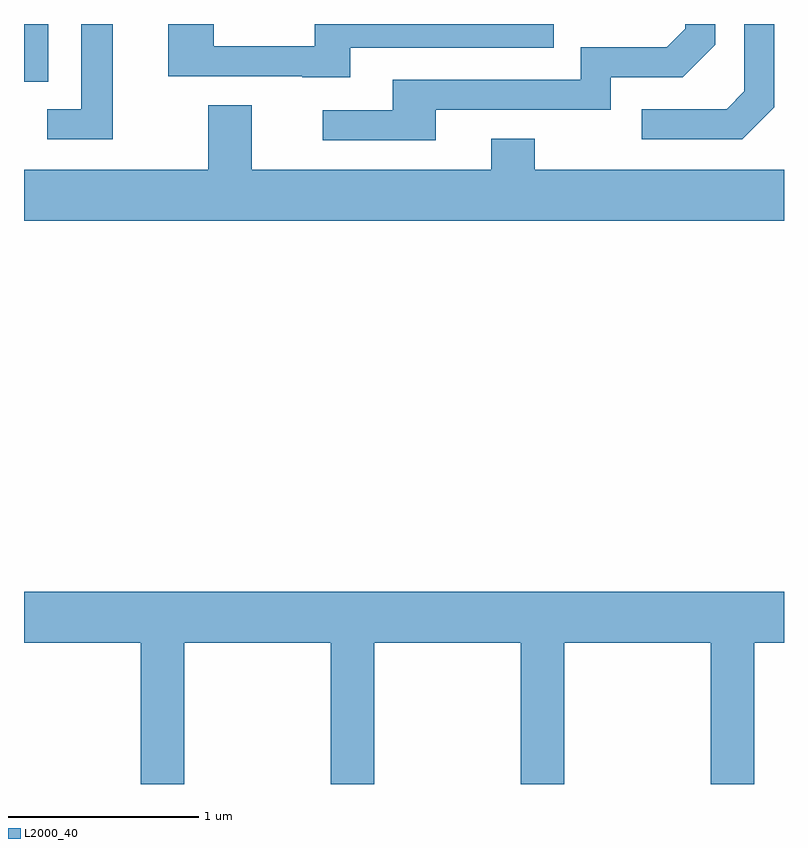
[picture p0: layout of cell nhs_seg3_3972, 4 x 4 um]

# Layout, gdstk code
import gdstk
lib = gdstk.Library(unit=1e-6, precision=1e-09)
def R(c, l, rs):  # rectangles x0, y0, x1, y1
    for r in rs: c.add(gdstk.rectangle(r[:2], r[2:], *l))
def P(c, l, *ps):  # polygons
    for p in ps: c.add(gdstk.Polygon(p, *l))
L2000_40 = (2000, 40)

nhs_seg3_3972 = lib.new_cell('nhs_seg3_3972')
R(nhs_seg3_3972, L2000_40, [(301.611,1175.588,301.739,1175.892)])
P(nhs_seg3_3972, L2000_40, [(303.779,1175.441),(304.699,1175.441),(304.699,1175.611),(305.077,1175.611),(305.249,1175.784),(305.249,1175.892),(305.091,1175.892),(305.091,1175.867),(304.994,1175.769),(304.541,1175.769),(304.541,1175.599),(303.551,1175.599),(303.551,1175.439),(303.183,1175.439),(303.183,1175.281),(303.779,1175.281)],
  [(303.329,1175.766),(304.398,1175.766),(304.398,1175.892),(303.141,1175.892),(303.141,1175.774),(302.609,1175.774),(302.609,1175.892),(302.371,1175.892),(302.371,1175.616),(303.075,1175.616),(303.075,1175.611),(303.329,1175.611)],
  [(305.559,1175.454),(305.559,1175.892),(305.401,1175.892),(305.401,1175.537),(305.309,1175.444),(304.863,1175.444),(304.863,1175.286),(305.392,1175.286)],
  [(302.079,1175.892),(301.911,1175.892),(301.911,1175.444),(301.733,1175.444),(301.733,1175.286),(302.079,1175.286)],
  [(305.611,1175.124),(304.299,1175.124),(304.299,1175.289),(304.071,1175.289),(304.071,1175.124),(302.809,1175.124),(302.809,1175.464),(302.581,1175.464),(302.581,1175.124),(301.611,1175.124),(301.611,1174.856),(305.611,1174.856)],
  [(302.454,1172.636),(303.226,1172.636),(303.226,1171.892),(303.454,1171.892),(303.454,1172.636),(304.226,1172.636),(304.226,1171.892),(304.454,1171.892),(304.454,1172.636),(305.226,1172.636),(305.226,1171.892),(305.454,1171.892),(305.454,1172.636),(305.611,1172.636),(305.611,1172.904),(301.611,1172.904),(301.611,1172.636),(302.226,1172.636),(302.226,1171.892),(302.454,1171.892)])

lib.write_gds('nhs_seg3_3972.gds')
